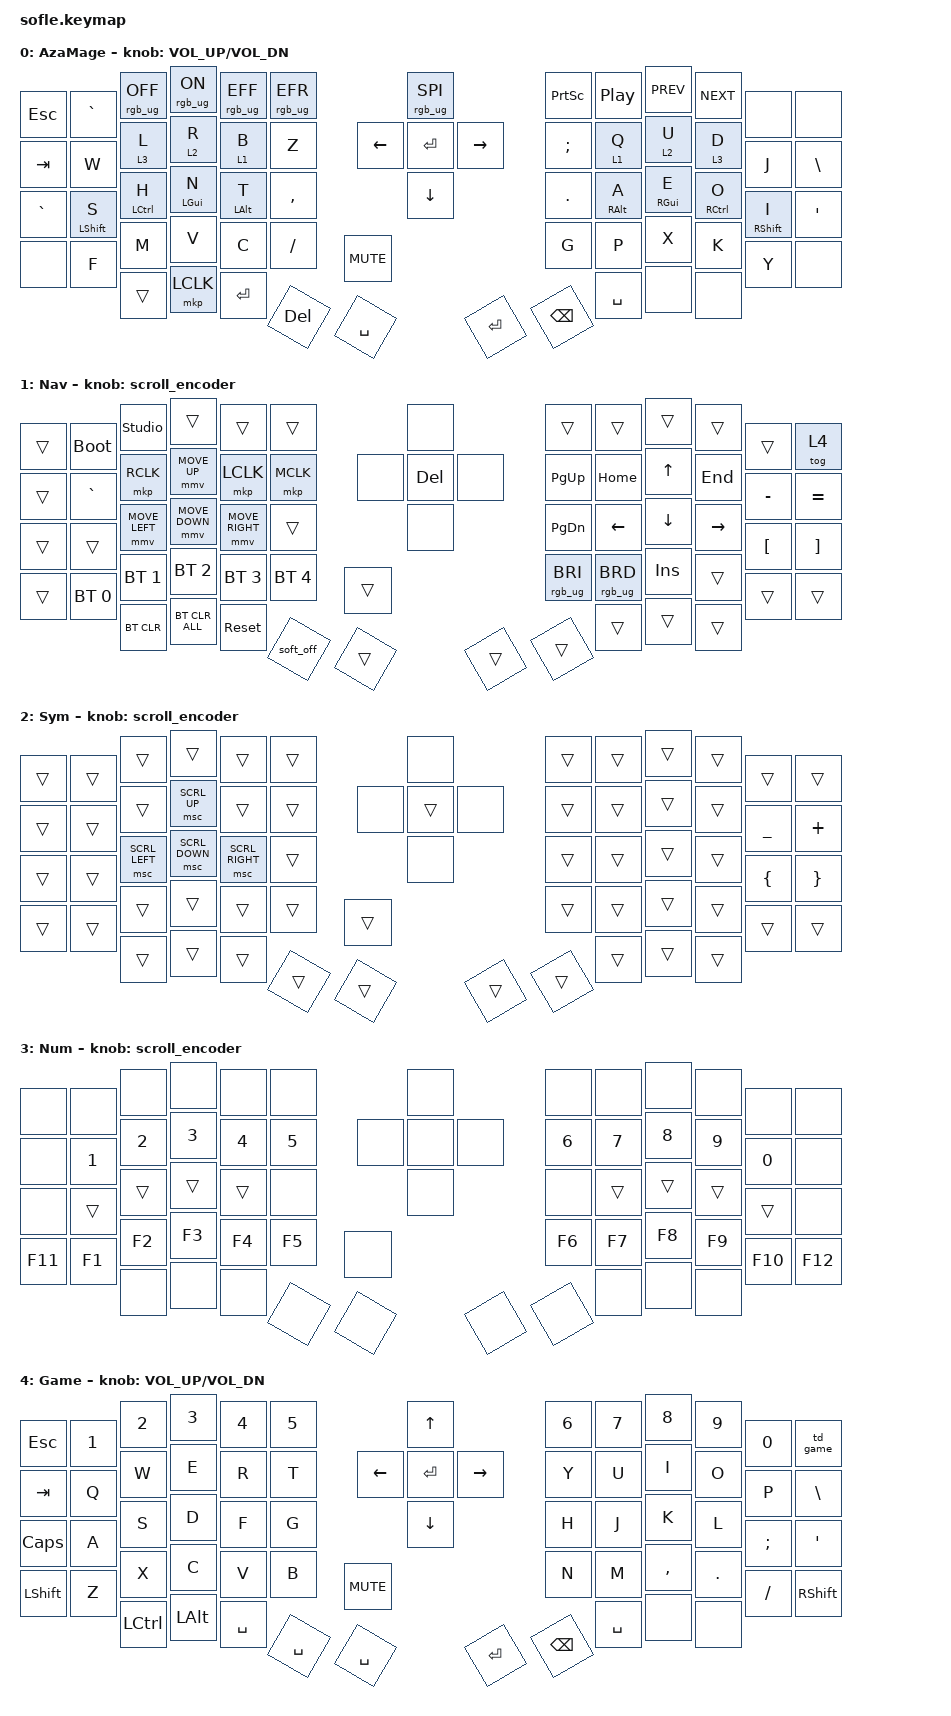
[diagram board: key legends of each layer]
#define ZMK_POINTING_DEFAULT_MOVE_VAL 1200  // default: 600
#define ZMK_POINTING_DEFAULT_SCRL_VAL 25    // default: 10

#include <behaviors.dtsi>
#include <dt-bindings/zmk/bt.h>
#include <dt-bindings/zmk/keys.h>
#include <dt-bindings/zmk/outputs.h>
#include <dt-bindings/zmk/pointing.h>
#include <dt-bindings/zmk/rgb.h>
#include <physical_layouts.dtsi>

/ {
    /* Physical key positions (from sofle.json), required by ZMK Studio.
       Order must match the matrix transform. Units: 1/100 keyunit / centidegree. */
    default_layout: default_layout {
        compatible = "zmk,physical-layout";
        display-name = "Sofle";
        transform = <&default_transform>;
        keys // w h x y rot rx ry
            = <&key_physical_attrs 100 100  150   63       0     0     0>
            , <&key_physical_attrs 100 100  250   63       0     0     0>
            , <&key_physical_attrs 100 100  350   25       0     0     0>
            , <&key_physical_attrs 100 100  450   12       0     0     0>
            , <&key_physical_attrs 100 100  550   25       0     0     0>
            , <&key_physical_attrs 100 100  650   25       0     0     0>
            , <&key_physical_attrs 100 100  925   25       0     0     0>
            , <&key_physical_attrs 100 100 1200   25       0     0     0>
            , <&key_physical_attrs 100 100 1300   25       0     0     0>
            , <&key_physical_attrs 100 100 1400   12       0     0     0>
            , <&key_physical_attrs 100 100 1500   25       0     0     0>
            , <&key_physical_attrs 100 100 1600   63       0     0     0>
            , <&key_physical_attrs 100 100 1700   63       0     0     0>
            , <&key_physical_attrs 100 100  150  163       0     0     0>
            , <&key_physical_attrs 100 100  250  163       0     0     0>
            , <&key_physical_attrs 100 100  350  125       0     0     0>
            , <&key_physical_attrs 100 100  450  112       0     0     0>
            , <&key_physical_attrs 100 100  550  125       0     0     0>
            , <&key_physical_attrs 100 100  650  125       0     0     0>
            , <&key_physical_attrs 100 100  925  225       0     0     0>
            , <&key_physical_attrs 100 100 1200  125       0     0     0>
            , <&key_physical_attrs 100 100 1300  125       0     0     0>
            , <&key_physical_attrs 100 100 1400  112       0     0     0>
            , <&key_physical_attrs 100 100 1500  125       0     0     0>
            , <&key_physical_attrs 100 100 1600  163       0     0     0>
            , <&key_physical_attrs 100 100 1700  163       0     0     0>
            , <&key_physical_attrs 100 100  150  263       0     0     0>
            , <&key_physical_attrs 100 100  250  263       0     0     0>
            , <&key_physical_attrs 100 100  350  225       0     0     0>
            , <&key_physical_attrs 100 100  450  212       0     0     0>
            , <&key_physical_attrs 100 100  550  225       0     0     0>
            , <&key_physical_attrs 100 100  650  225       0     0     0>
            , <&key_physical_attrs 100 100  825  125       0     0     0>
            , <&key_physical_attrs 100 100 1200  225       0     0     0>
            , <&key_physical_attrs 100 100 1300  225       0     0     0>
            , <&key_physical_attrs 100 100 1400  212       0     0     0>
            , <&key_physical_attrs 100 100 1500  225       0     0     0>
            , <&key_physical_attrs 100 100 1600  263       0     0     0>
            , <&key_physical_attrs 100 100 1700  263       0     0     0>
            , <&key_physical_attrs 100 100  150  363       0     0     0>
            , <&key_physical_attrs 100 100  250  363       0     0     0>
            , <&key_physical_attrs 100 100  350  325       0     0     0>
            , <&key_physical_attrs 100 100  450  312       0     0     0>
            , <&key_physical_attrs 100 100  550  325       0     0     0>
            , <&key_physical_attrs 100 100  650  325       0     0     0>
            , <&key_physical_attrs 100 100 1025  125       0     0     0>
            , <&key_physical_attrs 100 100 1200  325       0     0     0>
            , <&key_physical_attrs 100 100 1300  325       0     0     0>
            , <&key_physical_attrs 100 100 1400  312       0     0     0>
            , <&key_physical_attrs 100 100 1500  325       0     0     0>
            , <&key_physical_attrs 100 100 1600  363       0     0     0>
            , <&key_physical_attrs 100 100 1700  363       0     0     0>
            , <&key_physical_attrs 100 100  800  350       0     0     0>
            , <&key_physical_attrs 100 100  350  425       0     0     0>
            , <&key_physical_attrs 100 100  450  412       0     0     0>
            , <&key_physical_attrs 100 100  550  425       0     0     0>
            , <&key_physical_attrs 100 100  700  425    3000   650   425>
            , <&key_physical_attrs 100 100  825  375    3000   650   425>
            , <&key_physical_attrs 100 100  925  125       0     0     0>
            , <&key_physical_attrs 100 100 1025  375 (-3000)  1300   425>
            , <&key_physical_attrs 100 100 1150  425 (-3000)  1300   425>
            , <&key_physical_attrs 100 100 1300  425       0     0     0>
            , <&key_physical_attrs 100 100 1400  412       0     0     0>
            , <&key_physical_attrs 100 100 1500  425       0     0     0>
            ;
    };

    chosen {
        zmk,physical-layout = &default_layout;
    };

    behaviors {
        /* Tuned home row mods: mod fires only when chording with the OTHER half
           (hold-trigger-key-positions) and never right after normal typing
           (require-prior-idle). Positions are keymap binding indices, 0-63. */
        hml: home_row_mod_left {
            compatible = "zmk,behavior-hold-tap";
            #binding-cells = <2>;
            bindings = <&kp>, <&kp>;
            flavor = "balanced";
            tapping-term-ms = <280>;
            quick-tap-ms = <175>;
            require-prior-idle-ms = <150>;
            hold-trigger-key-positions = <6 7 8 9 10 11 12 19 20 21 22 23 24 25 32 33 34 35 36 37 38 45 46 47 48 49 50 51 55 56 57 58 59 60 61>;
            hold-trigger-on-release;
        };

        /* Exit from the Game layer: requires a TRIPLE tap so it can't happen mid-game */
        td_game: tap_dance_game_exit {
            compatible = "zmk,behavior-tap-dance";
            #binding-cells = <0>;
            tapping-term-ms = <250>;
            bindings = <&none>, <&none>, <&tog 4>;
        };

        hmr: home_row_mod_right {
            compatible = "zmk,behavior-hold-tap";
            #binding-cells = <2>;
            bindings = <&kp>, <&kp>;
            flavor = "balanced";
            tapping-term-ms = <280>;
            quick-tap-ms = <175>;
            require-prior-idle-ms = <150>;
            hold-trigger-key-positions = <0 1 2 3 4 5 13 14 15 16 17 18 26 27 28 29 30 31 39 40 41 42 43 44 52 53 54 55 56 57 58 59 60 61>;
            hold-trigger-on-release;
        };
    };

    scroll_encoder: scroll_encoder {
        compatible = "zmk,behavior-sensor-rotate";
        #sensor-binding-cells = <0>;
        bindings = <&msc SCRL_DOWN>, <&msc SCRL_UP>;

        tap-ms = <100>;
    };

    keymap {
        compatible = "zmk,keymap";

        layer0 {
            bindings = <
&kp ESC     &kp GRAVE      &rgb_ug RGB_OFF &rgb_ug RGB_ON  &rgb_ug RGB_EFF  &rgb_ug RGB_EFR  &rgb_ug RGB_SPI  &kp PRINTSCREEN &kp C_PLAY_PAUSE &kp C_PREV      &kp C_NEXT      &none              &none
&kp TAB     &kp W          &lt 3 L         &lt 2 R         &lt 1 B          &kp Z            &kp DOWN_ARROW   &kp SEMI        &lt 1 Q          &lt 2 U         &lt 3 D         &kp J              &kp BSLH
&kp GRAVE   &hml LSHIFT S  &hml LCTRL H    &hml LEFT_GUI N &hml LEFT_ALT T  &kp COMMA        &kp LEFT_ARROW   &kp DOT         &hmr RIGHT_ALT A &hmr RIGHT_GUI E &hmr RCTRL O   &hmr RIGHT_SHIFT I &kp APOS
&none       &kp F          &kp M           &kp V           &kp C            &kp FSLH         &kp RIGHT_ARROW  &kp G           &kp P            &kp X           &kp K           &kp Y              &none
&kp C_MUTE  &trans         &mkp LCLK       &kp ENTER       &kp DELETE       &kp SPACE        &kp ENTER        &kp ENTER       &kp BACKSPACE    &kp SPACE       &none           &none
            >;

            sensor-bindings = <&inc_dec_kp C_VOLUME_UP C_VOL_DN>;
            display-name = "AzaMage";
        };

        layer_1 {
            bindings = <
&trans  &bootloader   &studio_unlock  &trans          &trans           &trans          &none   &trans           &trans           &trans      &trans     &trans     &tog 4
&trans  &kp GRAVE     &mkp RCLK       &mmv MOVE_UP    &mkp LCLK        &mkp MCLK       &none   &kp PG_UP        &kp HOME         &kp UP      &kp END    &kp MINUS  &kp EQUAL
&trans  &trans        &mmv MOVE_LEFT  &mmv MOVE_DOWN  &mmv MOVE_RIGHT  &trans          &none   &kp PG_DN        &kp LEFT         &kp DOWN    &kp RIGHT  &kp LBKT   &kp RBKT
&trans  &bt BT_SEL 0  &bt BT_SEL 1    &bt BT_SEL 2    &bt BT_SEL 3     &bt BT_SEL 4    &none   &rgb_ug RGB_BRI  &rgb_ug RGB_BRD  &kp INSERT  &trans     &trans     &trans
&trans  &bt BT_CLR    &bt BT_CLR_ALL  &sys_reset      &soft_off        &trans                  &kp DELETE       &trans           &trans      &trans     &trans     &trans
            >;

            sensor-bindings = <&scroll_encoder>;
            display-name = "Nav";
        };

        layer_2 {
            bindings = <
&trans  &trans  &trans  &trans  &trans  &trans    &none   &trans  &trans  &trans  &trans  &trans     &trans
&trans  &trans  &trans          &msc SCRL_UP    &trans           &trans    &none   &trans  &trans  &trans  &trans  &kp UNDER  &kp PLUS
&trans  &trans  &msc SCRL_LEFT  &msc SCRL_DOWN  &msc SCRL_RIGHT  &trans    &none   &trans  &trans  &trans  &trans  &kp LBRC   &kp RBRC
&trans  &trans  &trans  &trans  &trans  &trans    &none   &trans  &trans  &trans  &trans  &trans     &trans
&trans  &trans  &trans  &trans  &trans  &trans            &trans  &trans  &trans  &trans  &trans     &trans
            >;

            sensor-bindings = <&scroll_encoder>;
            display-name = "Sym";
        };

        layer_3 {
            bindings = <
&none    &none   &none   &none   &none   &none     &none   &none   &none   &none   &none   &none    &none
&none    &kp N1  &kp N2  &kp N3  &kp N4  &kp N5    &none   &kp N6  &kp N7  &kp N8  &kp N9  &kp N0   &none
&none    &trans  &trans  &trans  &trans  &none     &none   &none   &trans  &trans  &trans  &trans   &none
&kp F11  &kp F1  &kp F2  &kp F3  &kp F4  &kp F5    &none   &kp F6  &kp F7  &kp F8  &kp F9  &kp F10  &kp F12
&none    &none   &none   &none   &none   &none             &none   &none   &none   &none   &none    &none
            >;

            sensor-bindings = <&scroll_encoder>;
            display-name = "Num";
        };

        /* Plain Windows-default layout for games: no home row mods, no layer-taps,
           real modifiers, arrows on the nav cross. Enter: hold B + top-right corner
           (Nav layer). Exit: TRIPLE-tap the same top-right corner. */
        layer_4 {
            bindings = <
&kp ESC     &kp N1     &kp N2    &kp N3     &kp N4     &kp N5        &kp UP     &kp N6     &kp N7     &kp N8         &kp N9     &kp N0    &td_game
&kp TAB     &kp Q      &kp W     &kp E      &kp R      &kp T         &kp DOWN   &kp Y      &kp U      &kp I          &kp O      &kp P     &kp BSLH
&kp CAPS    &kp A      &kp S     &kp D      &kp F      &kp G         &kp LEFT   &kp H      &kp J      &kp K          &kp L      &kp SEMI  &kp APOS
&kp LSHFT   &kp Z      &kp X     &kp C      &kp V      &kp B         &kp RIGHT  &kp N      &kp M      &kp COMMA      &kp DOT    &kp FSLH  &kp RSHFT
&kp C_MUTE  &kp LCTRL  &kp LALT  &kp SPACE  &kp SPACE  &kp SPACE                &kp ENTER  &kp ENTER  &kp BACKSPACE  &kp SPACE  &none     &none
            >;

            sensor-bindings = <&inc_dec_kp C_VOLUME_UP C_VOL_DN>;
            display-name = "Game";
        };
    };
};
